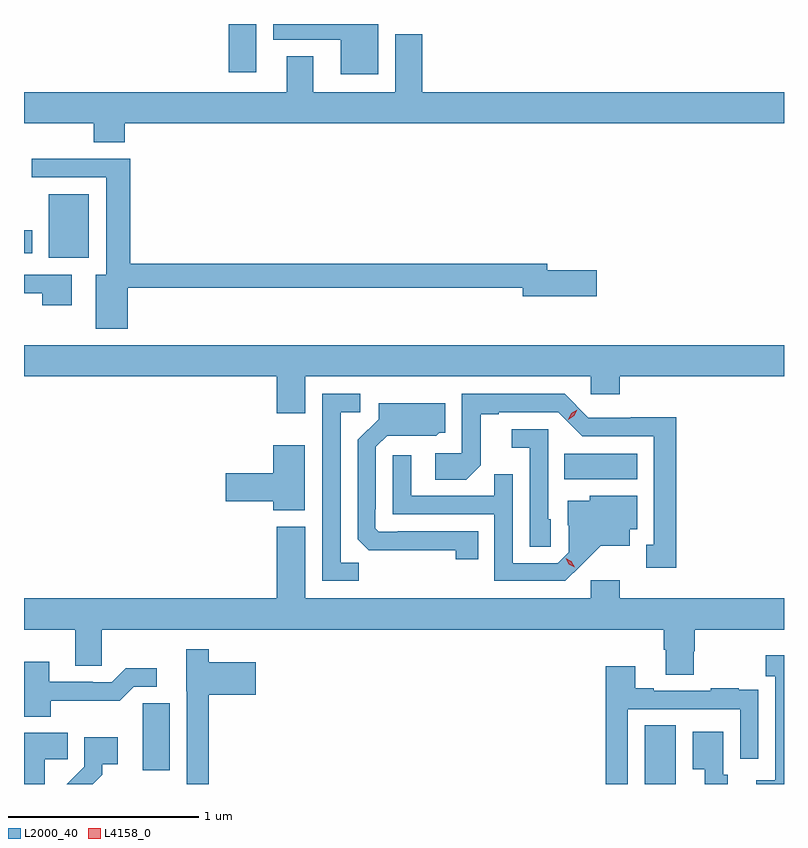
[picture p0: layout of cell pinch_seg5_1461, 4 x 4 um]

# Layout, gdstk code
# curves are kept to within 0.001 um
import gdstk
lib = gdstk.Library(unit=1e-6, precision=1e-09)
def R(c, l, rs):  # rectangles x0, y0, x1, y1
    for r in rs: c.add(gdstk.rectangle(r[:2], r[2:], *l))
def P(c, l, *ps):  # polygons
    for p in ps: c.add(gdstk.Polygon(p, *l))
L2000_40 = (2000, 40)
L4158_0 = (4158, 0)

pinch_seg5_1461 = lib.new_cell('pinch_seg5_1461')
R(pinch_seg5_1461, L2000_40, [(315.614,854.615,315.778,854.924), (315.19,856.22,315.574,856.354), (312.476,857.384,312.688,857.719), (312.347,857.408,312.391,857.53), (313.424,858.36,313.57,858.615)])
P(pinch_seg5_1461, L2000_40, [(314.211,858.615),(313.659,858.615),(313.659,858.531),(314.015,858.531),(314.015,858.35),(314.211,858.35)],
  [(312.878,858.092),(316.347,858.092),(316.347,858.256),(314.444,858.256),(314.444,858.561),(314.3,858.561),(314.3,858.256),(313.87,858.256),(313.87,858.446),(313.73,858.446),(313.73,858.256),(312.347,858.256),(312.347,858.092),(312.713,858.092),(312.713,857.993),(312.878,857.993)],
  [(312.892,857.226),(314.972,857.226),(314.972,857.183),(315.361,857.183),(315.361,857.318),(315.1,857.318),(315.1,857.354),(312.905,857.354),(312.905,857.906),(312.387,857.906),(312.387,857.808),(312.779,857.808),(312.779,857.296),(312.725,857.296),(312.725,857.01),(312.892,857.01)],
  [(312.598,857.295),(312.347,857.295),(312.347,857.199),(312.442,857.199),(312.442,857.136),(312.598,857.136)],
  [(313.828,856.76),(315.33,856.76),(315.33,856.667),(315.482,856.667),(315.482,856.76),(316.347,856.76),(316.347,856.924),(312.347,856.924),(312.347,856.76),(313.676,856.76),(313.676,856.566),(313.828,856.566)],
  [(314.109,855.779),(314.013,855.779),(314.013,856.572),(314.116,856.572),(314.116,856.668),(313.917,856.668),(313.917,855.684),(314.109,855.684)],
  [(315.781,856.544),(315.54,856.544),(315.54,856.542),(315.318,856.542),(315.192,856.668),(314.652,856.668),(314.652,856.356),(314.511,856.356),(314.511,856.216),(314.675,856.216),(314.751,856.292),(314.751,856.56),(314.845,856.56),(314.845,856.572),(315.159,856.572),(315.285,856.446),(315.662,856.446),(315.662,855.873),(315.623,855.873),(315.623,855.753),(315.781,855.753)],
  [(314.738,855.945),(314.314,855.945),(314.314,855.942),(314.214,855.942),(314.196,855.96),(314.196,856.06),(314.199,856.06),(314.199,856.389),(314.259,856.449),(314.516,856.448),(314.532,856.464),(314.563,856.464),(314.563,856.618),(314.213,856.618),(314.213,856.536),(314.103,856.426),(314.103,855.904),(314.162,855.845),(314.62,855.844),(314.62,855.798),(314.738,855.798)],
  [(315.12,856.008),(315.105,856.008),(315.105,856.482),(314.913,856.482),(314.913,856.385),(315.009,856.385),(315.009,855.865),(315.12,855.865)],
  [(313.825,856.399),(313.658,856.399),(313.658,856.25),(313.41,856.25),(313.41,856.103),(313.658,856.103),(313.658,856.055),(313.825,856.055)],
  [(315.28,855.767),(315.383,855.869),(315.535,855.869),(315.535,855.956),(315.574,855.956),(315.574,856.132),(315.324,856.132),(315.324,856.105),(315.209,856.105),(315.209,855.976),(315.213,855.976),(315.213,855.834),(315.156,855.777),(314.919,855.777),(314.919,856.244),(314.821,856.244),(314.821,856.131),(314.385,856.131),(314.385,856.345),(314.289,856.345),(314.289,856.035),(314.823,856.035),(314.823,855.684),(315.196,855.684)],
  [(315.873,855.315),(315.878,855.315),(315.878,855.428),(316.347,855.428),(316.347,855.592),(315.482,855.592),(315.482,855.688),(315.33,855.688),(315.33,855.592),(313.828,855.592),(313.828,855.97),(313.676,855.97),(313.676,855.592),(312.347,855.592),(312.347,855.428),(312.617,855.428),(312.617,855.238),(312.756,855.238),(312.756,855.428),(315.713,855.428),(315.713,855.322),(315.725,855.322),(315.725,855.19),(315.873,855.19)],
  [(313.319,855.086),(313.567,855.086),(313.567,855.256),(313.319,855.256),(313.319,855.325),(313.202,855.325),(313.202,855.102),(313.203,855.102),(313.203,854.615),(313.319,854.615)],
  [(316.347,855.292),(316.251,855.292),(316.251,855.182),(316.302,855.182),(316.302,854.634),(316.2,854.634),(316.2,854.615),(316.347,854.615)],
  [(312.489,855.054),(312.851,855.053),(312.924,855.126),(313.045,855.126),(313.045,855.223),(312.883,855.223),(312.81,855.15),(312.71,855.15),(312.71,855.153),(312.481,855.153),(312.481,855.259),(312.347,855.259),(312.347,854.969),(312.489,854.969)],
  [(315.525,855.009),(316.116,855.009),(316.116,854.748),(316.212,854.748),(316.212,855.002),(316.211,855.002),(316.211,855.111),(316.109,855.111),(316.109,855.118),(315.961,855.118),(315.961,855.105),(315.661,855.105),(315.661,855.118),(315.565,855.118),(315.565,855.235),(315.409,855.235),(315.409,854.615),(315.525,854.615)],
  [(313.114,855.041),(312.972,855.041),(312.972,854.93),(312.971,854.93),(312.971,854.688),(313.114,854.688)],
  [(316.051,854.664),(316.027,854.664),(316.027,854.89),(315.866,854.89),(315.866,854.693),(315.929,854.693),(315.929,854.615),(316.051,854.615)],
  [(312.457,854.746),(312.578,854.746),(312.578,854.884),(312.347,854.884),(312.347,854.615),(312.457,854.615)],
  [(312.76,854.665),(312.76,854.72),(312.841,854.72),(312.841,854.86),(312.663,854.86),(312.663,854.705),(312.573,854.615),(312.71,854.615)])
P(pinch_seg5_1461, L4158_0, [(315.211,856.533),(315.211,856.533),(315.228,856.566),(315.26,856.585),(315.26,856.585),(315.26,856.585),(315.243,856.552),(315.211,856.533)],
  [(315.245,855.757),(315.215,855.772),(315.198,855.802),(315.198,855.802),(315.198,855.802),(315.228,855.787),(315.245,855.757),(315.245,855.757)])

lib.write_gds('pinch_seg5_1461.gds')
